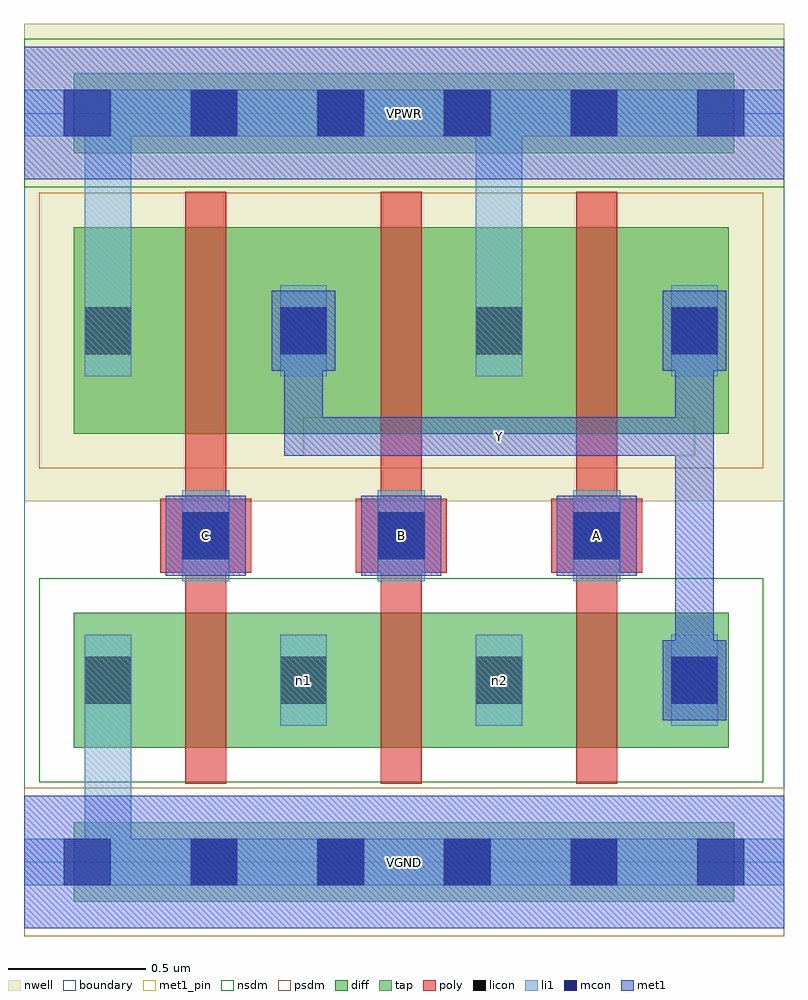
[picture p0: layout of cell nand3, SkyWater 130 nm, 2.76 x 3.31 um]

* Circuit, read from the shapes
.subckt nand3 A B C VGND VPWR Y n1 n2
XM1 n1 C VGND VGND sky130_fd_pr__nfet_01v8 w=0.49 l=0.15
XM2 n2 B n1 VGND sky130_fd_pr__nfet_01v8 w=0.49 l=0.15
XM3 Y A n2 VGND sky130_fd_pr__nfet_01v8 w=0.49 l=0.15
XM4 Y C VPWR VPWR sky130_fd_pr__pfet_01v8 w=0.75 l=0.15
XM5 VPWR B Y VPWR sky130_fd_pr__pfet_01v8 w=0.75 l=0.15
XM6 Y A VPWR VPWR sky130_fd_pr__pfet_01v8 w=0.75 l=0.15
.ends

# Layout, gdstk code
import gdstk
lib = gdstk.Library(unit=1e-6, precision=1e-09)
def R(c, l, rs):  # rectangles x0, y0, x1, y1
    for r in rs: c.add(gdstk.rectangle(r[:2], r[2:], *l))
def A(c, l, x, y, w, h, nx, ny, dx, dy):  # array of equal rectangles
    R(c, l, [(x+i*dx, y+j*dy, x+i*dx+w, y+j*dy+h) for i in range(nx) for j in range(ny)])
nwell = (64, 20)
diff = (65, 20)
tap = (65, 44)
poly = (66, 20)
licon = (66, 44)
li1 = (67, 20)
mcon = (67, 44)
met1_pin = (68, 16)
met1 = (68, 20)
nsdm = (93, 44)
psdm = (94, 20)
boundary = (235, 4)

nand3 = lib.new_cell('nand3')
R(nand3, nwell, [(0,1.31,2.76,3.045)])
R(nand3, diff, [(0.18,0.415,2.56,0.905), (0.18,1.555,2.56,2.305)])
R(nand3, tap, [(0.18,-0.145,2.58,0.145), (0.18,2.575,2.58,2.865)])
A(nand3, poly, 0.585, 0.285, 0.15, 2.15, 3, 1, 0.71, 0)
A(nand3, poly, 0.495, 1.05, 0.33, 0.27, 3, 1, 0.71, 0)
A(nand3, licon, 0.605, -0.085, 0.17, 0.17, 4, 2, 0.46, 2.72)
A(nand3, licon, 0.22, 0.575, 0.17, 0.17, 4, 2, 0.71, 1.27)
A(nand3, licon, 0.575, 1.1, 0.17, 0.17, 3, 1, 0.71, 0)
A(nand3, li1, 0.22, 0.495, 0.17, 0.33, 4, 2, 0.71, 1.27)
A(nand3, li1, 0.575, 1.02, 0.17, 0.33, 3, 1, 0.71, 0)
R(nand3, li1, [(0,-0.085,2.76,0.085), (0.22,-0.085,0.39,0.825), (0.22,1.765,0.39,2.805), (1.64,1.765,1.81,2.805), (0,2.635,2.76,2.805)])
A(nand3, mcon, 0.145, -0.085, 0.17, 0.17, 6, 2, 0.46, 2.72)
A(nand3, mcon, 0.575, 1.1, 0.17, 0.17, 3, 1, 0.71, 0)
R(nand3, mcon, [(2.35,0.575,2.52,0.745), (0.93,1.845,1.1,2.015), (2.35,1.845,2.52,2.015)])
A(nand3, met1_pin, 0.515, 1.04, 0.29, 0.29, 3, 1, 0.71, 0)
R(nand3, met1_pin, [(0,-0.24,2.76,0.24), (1.015,1.475,2.435,1.615), (0,2.48,2.76,2.96)])
A(nand3, met1, 0.515, 1.04, 0.29, 0.29, 3, 1, 0.71, 0)
R(nand3, met1, [(0,-0.24,2.76,0.24), (2.32,0.515,2.55,0.805), (2.365,0.66,2.505,1.615), (0.945,1.475,1.085,1.93), (1.015,1.475,2.435,1.615), (2.365,1.475,2.505,1.93), (0.9,1.785,1.13,2.075), (2.32,1.785,2.55,2.075), (0,2.48,2.76,2.96)])
R(nand3, nsdm, [(0.055,0.29,2.685,1.03), (0,2.45,2.76,2.99)])
R(nand3, psdm, [(0,-0.27,2.76,0.27), (0.055,1.43,2.685,2.43)])
R(nand3, boundary, [(0,0,2.76,2.72)])
nand3.add(gdstk.Label('n1', (1.015,0.66), layer=67, texttype=5))
nand3.add(gdstk.Label('n2', (1.725,0.66), layer=67, texttype=5))
nand3.add(gdstk.Label('A', (2.08,1.185), layer=68, texttype=5))
nand3.add(gdstk.Label('B', (1.37,1.185), layer=68, texttype=5))
nand3.add(gdstk.Label('C', (0.66,1.185), layer=68, texttype=5))
nand3.add(gdstk.Label('Y', (1.725,1.545), layer=68, texttype=5))
nand3.add(gdstk.Label('VPWR', (1.38,2.72), layer=68, texttype=5))
nand3.add(gdstk.Label('VGND', (1.38,0), layer=68, texttype=5))
nand3.add(gdstk.Label('A', (2.08,1.185), layer=68, texttype=16))
nand3.add(gdstk.Label('B', (1.37,1.185), layer=68, texttype=16))
nand3.add(gdstk.Label('C', (0.66,1.185), layer=68, texttype=16))
nand3.add(gdstk.Label('Y', (1.725,1.545), layer=68, texttype=16))
nand3.add(gdstk.Label('VPWR', (1.38,2.72), layer=68, texttype=16))
nand3.add(gdstk.Label('VGND', (1.38,0), layer=68, texttype=16))

lib.write_gds('nand3.gds')
